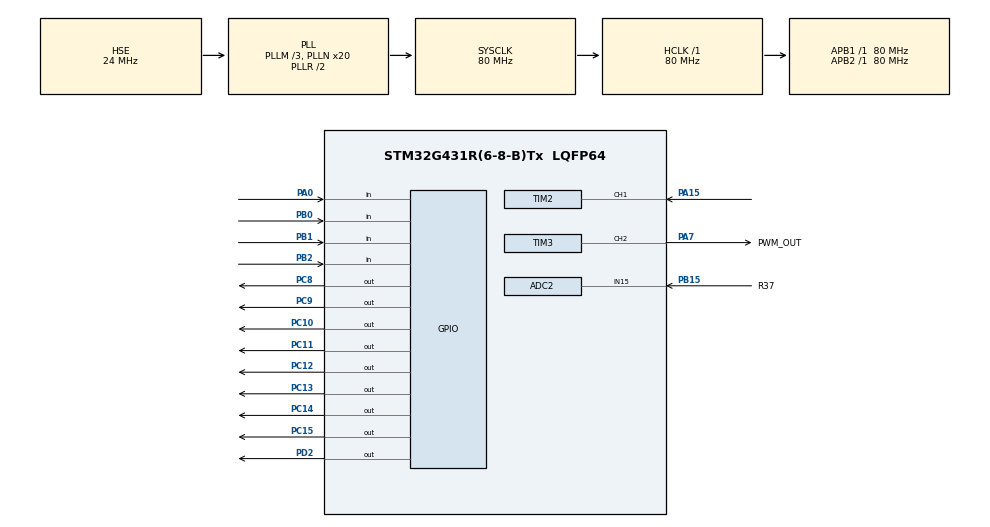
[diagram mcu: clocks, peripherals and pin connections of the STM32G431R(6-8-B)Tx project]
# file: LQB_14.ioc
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ADC2.Channel-0\#ChannelRegularConversion=ADC_CHANNEL_15
ADC2.ContinuousConvMode=DISABLE
ADC2.ExternalTrigConv=ADC_EXTERNALTRIG_T6_TRGO
ADC2.NbrOfConversion=1
ADC2.NbrOfConversionFlag=1
ADC2.OffsetNumber-0\#ChannelRegularConversion=ADC_OFFSET_NONE
ADC2.Rank-0\#ChannelRegularConversion=1
ADC2.SamplingTime-0\#ChannelRegularConversion=ADC_SAMPLETIME_47CYCLES_5
Mcu.Family=STM32G4
Mcu.Name=STM32G431R(6-8-B)Tx
Mcu.Package=LQFP64
NVIC.ADC1_2_IRQn=true\:1\:0\:true\:false\:true\:true\:true\:true
NVIC.PriorityGroup=NVIC_PRIORITYGROUP_4
NVIC.TIM2_IRQn=true\:1\:0\:true\:false\:true\:true\:true\:true
NVIC.TIM3_IRQn=true\:1\:0\:true\:false\:true\:true\:true\:true
NVIC.TIM6_DAC_IRQn=true\:1\:0\:true\:false\:true\:true\:true\:true
PA0.GPIO_Mode=GPIO_MODE_INPUT
PA0.GPIO_PuPd=GPIO_NOPULL
PA0.Signal=GPIO_Input
PA13.Mode=Serial_Wire
PA13.Signal=SYS_JTMS-SWDIO
PA14.Mode=Serial_Wire
PA14.Signal=SYS_JTCK-SWCLK
PA15.Signal=S_TIM2_CH1
PA7.GPIO_Label=PWM_OUT
PA7.Signal=S_TIM3_CH2
PB0.GPIO_Mode=GPIO_MODE_INPUT
PB0.GPIO_PuPd=GPIO_NOPULL
PB0.Signal=GPIO_Input
PB1.GPIO_Mode=GPIO_MODE_INPUT
PB1.GPIO_PuPd=GPIO_NOPULL
PB1.Signal=GPIO_Input
PB15.GPIO_Label=R37
PB15.Mode=IN15-Single-Ended
PB15.Signal=ADC2_IN15
PB2.GPIO_Mode=GPIO_MODE_INPUT
PB2.GPIO_PuPd=GPIO_NOPULL
PB2.Signal=GPIO_Input
PC10.GPIO_ModeDefaultOutputPP=GPIO_MODE_OUTPUT_PP
PC10.GPIO_PuPd=GPIO_NOPULL
PC10.GPIO_Speed=GPIO_SPEED_FREQ_LOW
PC10.PinState=GPIO_PIN_SET
PC10.Signal=GPIO_Output
PC11.GPIO_ModeDefaultOutputPP=GPIO_MODE_OUTPUT_PP
PC11.GPIO_PuPd=GPIO_NOPULL
PC11.GPIO_Speed=GPIO_SPEED_FREQ_LOW
PC11.PinState=GPIO_PIN_SET
PC11.Signal=GPIO_Output
PC12.GPIO_ModeDefaultOutputPP=GPIO_MODE_OUTPUT_PP
PC12.GPIO_PuPd=GPIO_NOPULL
PC12.GPIO_Speed=GPIO_SPEED_FREQ_LOW
PC12.PinState=GPIO_PIN_SET
PC12.Signal=GPIO_Output
PC13.GPIO_ModeDefaultOutputPP=GPIO_MODE_OUTPUT_PP
PC13.GPIO_PuPd=GPIO_NOPULL
PC13.GPIO_Speed=GPIO_SPEED_FREQ_LOW
PC13.PinState=GPIO_PIN_SET
PC13.Signal=GPIO_Output
PC14-OSC32_IN.GPIO_ModeDefaultOutputPP=GPIO_MODE_OUTPUT_PP
PC14-OSC32_IN.GPIO_PuPd=GPIO_NOPULL
PC14-OSC32_IN.GPIO_Speed=GPIO_SPEED_FREQ_LOW
PC14-OSC32_IN.PinState=GPIO_PIN_SET
PC14-OSC32_IN.Signal=GPIO_Output
PC15-OSC32_OUT.GPIO_ModeDefaultOutputPP=GPIO_MODE_OUTPUT_PP
PC15-OSC32_OUT.GPIO_PuPd=GPIO_NOPULL
PC15-OSC32_OUT.GPIO_Speed=GPIO_SPEED_FREQ_LOW
PC15-OSC32_OUT.PinState=GPIO_PIN_SET
PC15-OSC32_OUT.Signal=GPIO_Output
PC8.GPIO_ModeDefaultOutputPP=GPIO_MODE_OUTPUT_PP
PC8.GPIO_PuPd=GPIO_NOPULL
PC8.GPIO_Speed=GPIO_SPEED_FREQ_LOW
PC8.PinState=GPIO_PIN_SET
PC8.Signal=GPIO_Output
PC9.GPIO_ModeDefaultOutputPP=GPIO_MODE_OUTPUT_PP
PC9.GPIO_PuPd=GPIO_NOPULL
PC9.GPIO_Speed=GPIO_SPEED_FREQ_LOW
PC9.PinState=GPIO_PIN_SET
PC9.Signal=GPIO_Output
PD2.PinState=GPIO_PIN_RESET
PD2.Signal=GPIO_Output
PF0-OSC_IN.Mode=HSE-External-Oscillator
PF0-OSC_IN.Signal=RCC_OSC_IN
PF1-OSC_OUT.Mode=HSE-External-Oscillator
PF1-OSC_OUT.Signal=RCC_OSC_OUT
ProjectManager.HeapSize=0x200
ProjectManager.StackSize=0x400
ProjectManager.TargetToolchain=MDK-ARM V5.32
RCC.ADC12Freq_Value=80000000
RCC.AHBFreq_Value=80000000
RCC.APB1Freq_Value=80000000
RCC.APB1TimFreq_Value=80000000
RCC.APB2Freq_Value=80000000
RCC.APB2TimFreq_Value=80000000
RCC.CortexFreq_Value=80000000
RCC.EXTERNAL_CLOCK_VALUE=12288000
RCC.HCLKFreq_Value=80000000
RCC.HSE_VALUE=24000000
RCC.HSI48_VALUE=48000000
RCC.HSI_VALUE=16000000
RCC.LSE_VALUE=32768
RCC.PLLM=RCC_PLLM_DIV3
RCC.PLLN=20
RCC.PLLSourceVirtual=RCC_PLLSOURCE_HSE
RCC.SYSCLKFreq_VALUE=80000000
RCC.SYSCLKSource=RCC_SYSCLKSOURCE_PLLCLK
RCC.USBFreq_Value=80000000
RCC.VCOOutputFreq_Value=160000000
SH.S_TIM2_CH1.0=TIM2_CH1,Input_Capture1_from_TI1
SH.S_TIM3_CH2.0=TIM3_CH2,PWM Generation2 CH2
TIM2.Channel-Input_Capture1_from_TI1=TIM_CHANNEL_1
TIM2.Prescaler=80-1
TIM3.Channel-PWM\ Generation2\ CH2=TIM_CHANNEL_2
TIM3.Prescaler=80-1
TIM3.PulseNoDither_2=50
TIM6.PeriodNoDither=1000-1
TIM6.Prescaler=80-1
TIM6.TIM_MasterOutputTrigger=TIM_TRGO_UPDATE
VP_SYS_VS_DBSignals.Mode=DisableDeadBatterySignals
VP_TIM2_VS_ClockSourceINT.Mode=Internal
VP_TIM3_VS_ClockSourceINT.Mode=Internal
VP_TIM6_VS_ClockSourceINT.Mode=Enable_Timer
board=custom

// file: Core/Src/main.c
/* USER CODE BEGIN Header */
/**
  ******************************************************************************
  * @file           : main.c
  * @brief          : Main program body
  ******************************************************************************
  * @attention
  *
  * Copyright (c) 2025 STMicroelectronics.
  * All rights reserved.
  *
  * This software is licensed under terms that can be found in the LICENSE file
  * in the root directory of this software component.
  * If no LICENSE file comes with this software, it is provided AS-IS.
  *
  ******************************************************************************
  */
/* USER CODE END Header */
#include "main.h"
#include "adc.h"
#include "tim.h"
#include "gpio.h"

/* USER CODE BEGIN Includes */
#include <stdio.h>
#include "analog_in.h"
#include "key.h"
#include "led.h"
#include "pulse.h"
#include "pwm_out.h"
#include "lcd.h"
#include "ui.h"
/* USER CODE END Includes */

/* USER CODE BEGIN PV */
static uint8_t led_time = 0;
/* USER CODE END PV */

void SystemClock_Config(void);

/* USER CODE BEGIN 0 */

void check_key(){
    static KeyFlag key1_flag;
    static KeyFlag key2_flag;
    static KeyFlag key3_flag;
    static KeyFlag key4_flag;
    key1_flag = key_get_flag(&key1);
    key2_flag = key_get_flag(&key2);
    key3_flag = key_get_flag(&key3);
    key4_flag = key_get_flag(&key4);

    switch (ui.current_page)
    {
    	case DATA:
            if(key4_flag == LONG)
                lock_pulse = 1;
            if(key4_flag == SHORT)
                lock_pulse = 0;
            if(key2_flag != NONE){
                pwm_change_mode();
                break;
            }
    		break;
    	case PARA:
            if(key2_flag != NONE){
                if(ui.current_line == 1) ui.current_line = 0;
                else ui.current_line = 1;
            }
            if(key3_flag != NONE){
                if(ui.current_line == 0){
                    if(ui.R == 10) ui.R = 1;
                    else ui.R ++;
                }
                else{
                    if(ui.K == 10) ui.K = 1;
                    else ui.K ++;
                }
            }
            if(key4_flag == SHORT){
                if(ui.current_line == 0){
                    if(ui.R == 1) ui.R = 10;
                    else ui.R --;
                }
                else{
                    if(ui.K == 1) ui.K = 10;
                    else ui.K --;
                }
            }
    		break;
    	case RECD:
    		break;
    }

    if(key1_flag != NONE) ui_switch();
}

void check_led(){
    led_set(1, ui.current_page== DATA? 0:1);
    if(led_time <= 100) led_set(2, 1);
    else if(led_time > 100) led_set(2, 0);
    led_set(3,lock_pulse == 0? 1:0);
}

void HAL_TIM_PeriodElapsedCallback(TIM_HandleTypeDef *htim){
    if(htim == &htim6){
        key_process();
        pwm_process();
        pulse_process();
        ui_cal();
        ui_updata();
        check_key();
        if(pwm1.mode == PWM_TO_HIGH||pwm1.mode == PWM_TO_LOW){
            if(++led_time >=200) led_time = 0;
        }else{
            led_time = 0;
        }
        check_led();
    }
}

/* USER CODE END 0 */

int main(void)
{

  /* MCU Configuration--------------------------------------------------------*/

  /* Reset of all peripherals, Initializes the Flash interface and the Systick. */
  HAL_Init();

  /* Configure the system clock */
  SystemClock_Config();

  /* Initialize all configured peripherals */
  MX_GPIO_Init();
  MX_ADC2_Init();
  MX_TIM2_Init();
  MX_TIM3_Init();
  MX_TIM6_Init();
  /* USER CODE BEGIN 2 */
    led_init();
    key_init();
    pulse_init();
    pot_init();
    pwm_init();
    ui_init();

    HAL_TIM_Base_Start_IT(&htim6);
  /* USER CODE END 2 */

  /* Infinite loop */
  /* USER CODE BEGIN WHILE */
  while (1)
  {
//      HAL_Delay(1000);
//      pwm_change_mode();
    /* USER CODE END WHILE */

  }
}

void SystemClock_Config(void)
{
  RCC_OscInitTypeDef RCC_OscInitStruct = {0};
  RCC_ClkInitTypeDef RCC_ClkInitStruct = {0};

  /** Configure the main internal regulator output voltage
  */
  HAL_PWREx_ControlVoltageScaling(PWR_REGULATOR_VOLTAGE_SCALE1);

  /** Initializes the RCC Oscillators according to the specified parameters
  * in the RCC_OscInitTypeDef structure.
  */
  RCC_OscInitStruct.OscillatorType = RCC_OSCILLATORTYPE_HSE;
  RCC_OscInitStruct.HSEState = RCC_HSE_ON;
  RCC_OscInitStruct.PLL.PLLState = RCC_PLL_ON;
  RCC_OscInitStruct.PLL.PLLSource = RCC_PLLSOURCE_HSE;
  RCC_OscInitStruct.PLL.PLLM = RCC_PLLM_DIV3;
  RCC_OscInitStruct.PLL.PLLN = 20;
  RCC_OscInitStruct.PLL.PLLP = RCC_PLLP_DIV2;
  RCC_OscInitStruct.PLL.PLLQ = RCC_PLLQ_DIV2;
  RCC_OscInitStruct.PLL.PLLR = RCC_PLLR_DIV2;
  if (HAL_RCC_OscConfig(&RCC_OscInitStruct) != HAL_OK)
  {
    Error_Handler();
  }

  /** Initializes the CPU, AHB and APB buses clocks
  */
  RCC_ClkInitStruct.ClockType = RCC_CLOCKTYPE_HCLK|RCC_CLOCKTYPE_SYSCLK
                              |RCC_CLOCKTYPE_PCLK1|RCC_CLOCKTYPE_PCLK2;
  RCC_ClkInitStruct.SYSCLKSource = RCC_SYSCLKSOURCE_PLLCLK;
  RCC_ClkInitStruct.AHBCLKDivider = RCC_SYSCLK_DIV1;
  RCC_ClkInitStruct.APB1CLKDivider = RCC_HCLK_DIV1;
  RCC_ClkInitStruct.APB2CLKDivider = RCC_HCLK_DIV1;

  if (HAL_RCC_ClockConfig(&RCC_ClkInitStruct, FLASH_LATENCY_2) != HAL_OK)
  {
    Error_Handler();
  }
}

void Error_Handler(void)
{
  __disable_irq();
  while (1)
  {
  }
}
